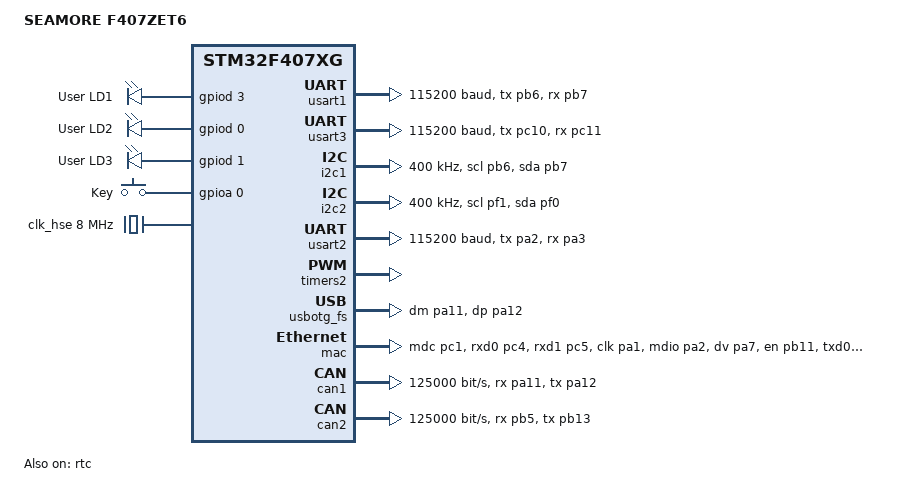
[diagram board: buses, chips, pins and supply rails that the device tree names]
/*
 * Copyright (c) 2017 Linaro Limited
 *
 * SPDX-License-Identifier: Apache-2.0
 */

/dts-v1/;
#include <st/f4/stm32f407Xg.dtsi>
#include <st/f4/stm32f407.dtsi>
#include <st/f4/stm32f407z(e-g)tx-pinctrl.dtsi>

/ {
	model = "SEAMORE F407ZET6";
	compatible = "st,stm32f4discovery";

	chosen {
		zephyr,console = &usart3;
		zephyr,shell-uart = &usart3;
		zephyr,sram = &sram0;
		zephyr,flash = &flash0;
		zephyr,ccm = &ccm0;
		zephyr,canbus = &can1;
	};

	leds {
		compatible = "gpio-leds";
		green_led_1: led_1 {
			gpios = <&gpiod 3 GPIO_ACTIVE_HIGH>;
			label = "User LD1";
		};
		blue_led_1: led_2 {
			gpios = <&gpiod 0 GPIO_ACTIVE_HIGH>;
			label = "User LD2";
		};
		red_led_1: led_3 {
			gpios = <&gpiod 1 GPIO_ACTIVE_HIGH>;
			label = "User LD3";
		};
	};

	gpio_keys {
		compatible = "gpio-keys";
		user_button: button {
			label = "Key";
			gpios = <&gpioa 0 GPIO_ACTIVE_HIGH>;
		};
	};

	aliases {
		led0 = &green_led_1;
		led1 = &blue_led_1;
		led2 = &red_led_1;
		sw0 = &user_button;
		i2c0 = &i2c1;
		i2c1 = &i2c2;
	};
};

&usart1 {
	pinctrl-0 = <&usart1_tx_pb6 &usart1_rx_pb7>;
	pinctrl-names = "default";
	current-speed = <115200>;
	status = "okay";
};

&usart3 {
	pinctrl-0 = <&usart3_tx_pc10 &usart3_rx_pc11>;
	pinctrl-names = "default";
	current-speed = <115200>;
	status = "okay";
};

&clk_lsi {
	status = "okay";
};

&clk_hse {
	clock-frequency = <DT_FREQ_M(8)>;
	status = "okay";
};

&pll {
	div-m = <8>;
	mul-n = <336>;
	div-p = <2>;
	div-q = <7>;
	clocks = <&clk_hse>;
	status = "okay";
};

&rcc {
	clocks = <&pll>;
	clock-frequency = <DT_FREQ_M(168)>;
	ahb-prescaler = <1>;
	apb1-prescaler = <4>;
	apb2-prescaler = <2>;
};

&i2c1 {
	pinctrl-0 = <&i2c1_scl_pb6 &i2c1_sda_pb7>;
	pinctrl-names = "default";
	status = "okay";
	clock-frequency = <I2C_BITRATE_FAST>;
};

&i2c2 {
	pinctrl-0 = <&i2c2_scl_pf1 &i2c2_sda_pf0>;
	pinctrl-names = "default";
	status = "okay";
	clock-frequency = <I2C_BITRATE_FAST>;
};

&usart2 {
	pinctrl-0 = <&usart2_tx_pa2 &usart2_rx_pa3>;
	pinctrl-names = "default";
	current-speed = <115200>;
	status = "okay";
};

&timers2 {
	status = "okay";

	pwm2: pwm {
		status = "okay";
		pinctrl-0 = <&tim2_ch1_pa0>;
		pinctrl-names = "default";
	};
};

&rtc {
	clocks = <&rcc STM32_CLOCK_BUS_APB1 0x10000000>,
		 <&rcc STM32_SRC_LSI RTC_SEL(2)>;
	status = "okay";
};

zephyr_udc0: &usbotg_fs {
	pinctrl-0 = <&usb_otg_fs_dm_pa11 &usb_otg_fs_dp_pa12>;
	pinctrl-names = "default";
	status = "okay";
};

&mac {
	status = "okay";
	pinctrl-0 = <&eth_mdc_pc1
		     &eth_rxd0_pc4
		     &eth_rxd1_pc5
		     &eth_ref_clk_pa1
		     &eth_mdio_pa2
		     &eth_crs_dv_pa7
		     &eth_tx_en_pb11
		     &eth_txd0_pb12
		     &eth_txd1_pb13>;
	pinctrl-names = "default";
};


&can1 {
	pinctrl-0 = <&can1_rx_pa11 &can1_tx_pa12>;
	pinctrl-names = "default";
	status = "okay";
	bus-speed = <125000>;
};

&can2 {
	pinctrl-0 = <&can2_rx_pb5 &can2_tx_pb13>;
	pinctrl-names = "default";
	bus-speed = <125000>;
	status = "okay";
};
